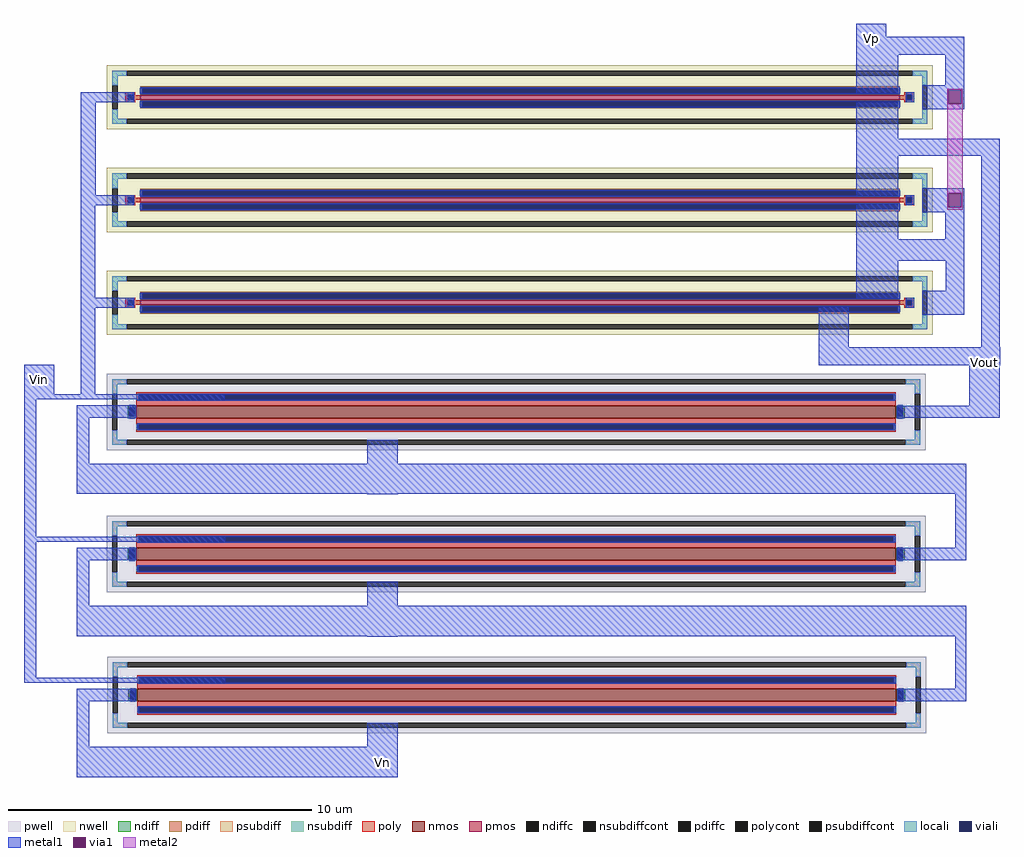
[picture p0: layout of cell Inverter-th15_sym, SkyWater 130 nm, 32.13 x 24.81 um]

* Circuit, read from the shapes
.subckt Inverter-th15_sym Vp Vout Vin Vn
XM1 n1 Vin n2 VSUBS sky130_fd_pr__nfet_01v8 w=0.42 l=25
XM2 Vout Vin n1 VSUBS sky130_fd_pr__nfet_01v8 w=0.42 l=25
XM3 n2 Vin Vn VSUBS sky130_fd_pr__nfet_01v8 w=0.42 l=25
XM4 Vp Vin Vout n3 sky130_fd_pr__pfet_01v8 w=25 l=0.15
XM5 Vout Vin Vp n4 sky130_fd_pr__pfet_01v8 w=25 l=0.15
XM6 Vp Vin Vout n5 sky130_fd_pr__pfet_01v8 w=25 l=0.15
.ends

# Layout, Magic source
magic
tech sky130A
magscale 1 2
<< metal1 >>
rect 6246 3586 6446 3672
rect 6246 3468 6958 3586
rect 1142 3154 1492 3220
rect 6246 3218 6524 3468
rect 6834 3266 6958 3468
rect 6682 3236 6958 3266
rect 1142 2544 1240 3154
rect 6246 2914 6524 3156
rect 6682 3146 6854 3236
rect 6940 3146 6958 3236
rect 6682 3108 6958 3146
rect 6246 2804 7192 2914
rect 1142 2478 1492 2544
rect 6246 2540 6524 2804
rect 6682 2554 6958 2590
rect 1142 1868 1238 2478
rect 6246 2252 6524 2480
rect 6682 2464 6854 2554
rect 6940 2464 6958 2554
rect 6682 2432 6958 2464
rect 6834 2252 6958 2432
rect 6246 2112 6960 2252
rect 1142 1802 1488 1868
rect 6246 1864 6524 2112
rect 6836 1914 6960 2112
rect 768 1232 968 1428
rect 1142 1232 1236 1802
rect 6002 1542 6198 1806
rect 6682 1756 6960 1914
rect 7072 1542 7192 2804
rect 6002 1424 7194 1542
rect 768 1198 2090 1232
rect 768 294 850 1198
rect 1116 1076 1508 1160
rect 6992 1158 7192 1424
rect 6516 1076 7192 1158
rect 1116 776 1198 1076
rect 3028 776 3228 934
rect 1116 576 6972 776
rect 3028 574 3228 576
rect 768 260 2092 294
rect 768 -634 850 260
rect 1116 138 1508 222
rect 6898 220 6972 576
rect 6516 138 6972 220
rect 1116 -162 1198 138
rect 3028 -162 3228 -4
rect 6898 -162 6972 -160
rect 1116 -362 6972 -162
rect 3028 -364 3228 -362
rect 768 -668 2094 -634
rect 1114 -790 1500 -706
rect 6898 -708 6972 -362
rect 6518 -790 6972 -708
rect 1114 -1090 1196 -790
rect 3028 -1090 3230 -930
rect 1114 -1102 3230 -1090
rect 1114 -1290 3228 -1102
<< via1 >>
rect 6854 3146 6940 3236
rect 6854 2464 6940 2554
<< metal2 >>
rect 6846 3236 6950 3242
rect 6846 3146 6854 3236
rect 6940 3146 6950 3236
rect 6846 2554 6950 3146
rect 6846 2464 6854 2554
rect 6940 2464 6950 2554
rect 6846 2446 6950 2464
use sky130_fd_pr__pfet_01v8_KGSDF3  XM7
transform 0 1 4033 -1 0 1835
box -211 -2719 211 2719
use sky130_fd_pr__nfet_01v8_YYPCPJ  XM8
transform 1 0 4012 0 1 -748
box -2696 -252 2696 252
use sky130_fd_pr__nfet_01v8_YYPCPJ  XM9
transform 1 0 4008 0 1 180
box -2696 -252 2696 252
use sky130_fd_pr__nfet_01v8_YYPCPJ  XM10
transform 1 0 4008 0 1 1116
box -2696 -252 2696 252
use sky130_fd_pr__pfet_01v8_KGSDF3  XM11
transform 0 1 4033 -1 0 2511
box -211 -2719 211 2719
use sky130_fd_pr__pfet_01v8_KGSDF3  XM12
transform 0 1 4033 -1 0 3187
box -211 -2719 211 2719
<< labels >>
flabel metal1 3028 -1290 3228 -1090 0 FreeSans 256 0 0 0 Vn
port 3 nsew
flabel metal1 768 1228 968 1428 0 FreeSans 256 0 0 0 Vin
port 2 nsew
flabel metal1 6992 1342 7192 1542 0 FreeSans 256 0 0 0 Vout
port 1 nsew
flabel metal1 6246 3472 6446 3672 0 FreeSans 256 0 0 0 Vp
port 0 nsew
<< end >>

# cell sky130_fd_pr__pfet_01v8_KGSDF3: kit device sky130_fd_pr__pfet_01v8, w 25.0 l 0.15 m 1 nf 1 diffcov 100 polycov 100 guard 1 glc 1 grc 1 gtc 1 gbc 1 tbcov 100 rlcov 100 topc 1 botc 1 poverlap 0 doverlap 1 lmin 0.15 wmin 0.42 compatible {sky130_fd_pr__pfet_01v8 sky130_fd_pr__pfet_01v8_lvt sky130_fd_pr__pfet_01v8_hvt sky130_fd_pr__pfet_g5v0d10v5} full_metal 1 viasrc 100 viadrn 100 viagate 100 viagb 0 viagr 0 viagl 0 viagt 0

# cell sky130_fd_pr__nfet_01v8_YYPCPJ: kit device sky130_fd_pr__nfet_01v8, w 0.42 l 25.0 m 1 nf 1 diffcov 100 polycov 100 guard 1 glc 1 grc 1 gtc 1 gbc 1 tbcov 100 rlcov 100 topc 1 botc 1 poverlap 0 doverlap 1 lmin 0.15 wmin 0.42 compatible {sky130_fd_pr__nfet_01v8 sky130_fd_pr__nfet_01v8_lvt sky130_fd_bs_flash__special_sonosfet_star sky130_fd_pr__nfet_g5v0d10v5 sky130_fd_pr__nfet_05v0_nvt sky130_fd_pr__nfet_03v3_nvt} full_metal 1 viasrc 100 viadrn 100 viagate 100 viagb 0 viagr 0 viagl 0 viagt 0
